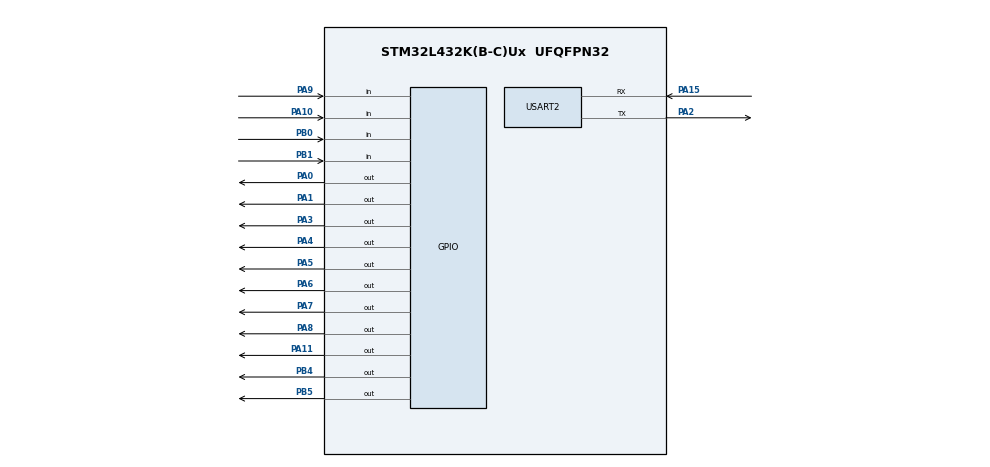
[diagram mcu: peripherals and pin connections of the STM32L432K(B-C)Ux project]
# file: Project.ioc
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Mcu.Family=STM32L4
Mcu.Name=STM32L432K(B-C)Ux
Mcu.Package=UFQFPN32
NVIC.PriorityGroup=NVIC_PRIORITYGROUP_4
PA0.Signal=GPIO_Output
PA1.Signal=GPIO_Output
PA10.Signal=GPIO_Input
PA11.Signal=GPIO_Output
PA13\ (JTMS-SWDIO).Mode=Serial_Wire
PA13\ (JTMS-SWDIO).Signal=SYS_JTMS-SWDIO
PA14\ (JTCK-SWCLK).Mode=Serial_Wire
PA14\ (JTCK-SWCLK).Signal=SYS_JTCK-SWCLK
PA15\ (JTDI).Mode=Asynchronous
PA15\ (JTDI).Signal=USART2_RX
PA2.Mode=Asynchronous
PA2.Signal=USART2_TX
PA3.Signal=GPIO_Output
PA4.Signal=GPIO_Output
PA5.Signal=GPIO_Output
PA6.Signal=GPIO_Output
PA7.Signal=GPIO_Output
PA8.Signal=GPIO_Output
PA9.Signal=GPIO_Input
PB0.Signal=GPIO_Input
PB1.Signal=GPIO_Input
PB4\ (NJTRST).Signal=GPIO_Output
PB5.Signal=GPIO_Output
PC14-OSC32_IN\ (PC14).Mode=LSE-External-Oscillator
PC14-OSC32_IN\ (PC14).Signal=RCC_OSC32_IN
PC15-OSC32_OUT\ (PC15).Mode=LSE-External-Oscillator
PC15-OSC32_OUT\ (PC15).Signal=RCC_OSC32_OUT
ProjectManager.HeapSize=0x200
ProjectManager.StackSize=0x400
ProjectManager.TargetToolchain=MDK-ARM V5.32
RCC.HSE_VALUE=8000000
RCC.HSI48_VALUE=48000000
RCC.HSI_VALUE=16000000
RCC.MSI_VALUE=4000000
RCC.VCOOutputFreq_Value=32000000
TIM1.Period=0xffff-1
TIM1.Prescaler=71
USART2.VirtualMode-Asynchronous=VM_ASYNC
VP_TIM1_VS_ClockSourceINT.Mode=Internal
board=custom

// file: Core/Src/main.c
/* USER CODE BEGIN Header */
/**
  ******************************************************************************
  * @file           : main.c
  * @brief          : Main program body
  ******************************************************************************
  * @attention
  *
  * <h2><center>&copy; Copyright (c) 2022 STMicroelectronics.
  * All rights reserved.</center></h2>
  *
  * This software component is licensed by ST under BSD 3-Clause license,
  * the "License"; You may not use this file except in compliance with the
  * License. You may obtain a copy of the License at:
  *                        opensource.org/licenses/BSD-3-Clause
  *
  ******************************************************************************
  */
/* USER CODE END Header */
#include "main.h"

TIM_HandleTypeDef htim1;

UART_HandleTypeDef huart2;

void SystemClock_Config(void);
static void MX_GPIO_Init(void);
static void MX_TIM1_Init(void);
static void MX_USART2_UART_Init(void);
/* USER CODE BEGIN PFP */
#define RS_Pin GPIO_PIN_1
#define RS_GPIO_Port GPIOA
#define RW_Pin GPIO_PIN_0
#define RW_GPIO_Port GPIOA
#define EN_Pin GPIO_PIN_3
#define EN_GPIO_Port GPIOA
#define D4_Pin GPIO_PIN_4
#define D4_GPIO_Port GPIOA
#define D5_Pin GPIO_PIN_5
#define D5_GPIO_Port GPIOA
#define D6_Pin GPIO_PIN_6
#define D6_GPIO_Port GPIOA
#define D7_Pin GPIO_PIN_7
#define D7_GPIO_Port GPIOA
#define timer htim1
/* USER CODE END PFP */

/* USER CODE BEGIN 0 */

extern TIM_HandleTypeDef timer;
void delay (uint16_t us)
{
	__HAL_TIM_SET_COUNTER(&timer, 0);
	while (__HAL_TIM_GET_COUNTER(&timer) < us);
}

void send_to_lcd (char data, int rs)
{
	HAL_GPIO_WritePin(RS_GPIO_Port, RS_Pin, rs);  // rs = 1 for data, rs=0 for command

	/* write the data to the respective pin */
	HAL_GPIO_WritePin(D7_GPIO_Port, D7_Pin, ((data>>3)&0x01));
	HAL_GPIO_WritePin(D6_GPIO_Port, D6_Pin, ((data>>2)&0x01));
	HAL_GPIO_WritePin(D5_GPIO_Port, D5_Pin, ((data>>1)&0x01));
	HAL_GPIO_WritePin(D4_GPIO_Port, D4_Pin, ((data>>0)&0x01));

	/* Toggle EN PIN to send the data
	 * if the HCLK > 100 MHz, use the  20 us delay
	 * if the LCD still doesn't work, increase the delay to 50, 80 or 100..
	 */
	HAL_GPIO_WritePin(EN_GPIO_Port, EN_Pin, 1);
	delay (20);
	HAL_GPIO_WritePin(EN_GPIO_Port, EN_Pin, 0);
	delay (20);
}

void lcd_send_cmd (char cmd)
{
    char datatosend;

    /* send upper nibble first */
    datatosend = ((cmd>>4)&0x0f);
    send_to_lcd(datatosend,0);  // RS must be 0 while sending command

    /* send Lower Nibble */
    datatosend = ((cmd)&0x0f);
	send_to_lcd(datatosend, 0);
}

void lcd_send_data (char data)
{
	char datatosend;

	/* send higher nibble */
	datatosend = ((data>>4)&0x0f);
	send_to_lcd(datatosend, 1);  // rs =1 for sending data

	/* send Lower nibble */
	datatosend = ((data)&0x0f);
	send_to_lcd(datatosend, 1);
}

void lcd_clear (void)
{
	lcd_send_cmd(0x01);
	HAL_Delay(2);
}

void lcd_put_cur(int row, int col)
{
    switch (row)
    {
        case 0:
            col |= 0x80;
            break;
        case 1:
            col |= 0xC0;
            break;
    }

    lcd_send_cmd (col);
}

void lcd_init (void)
{
	// 4 bit initialisation
	HAL_Delay(50);  // wait for >40ms
	lcd_send_cmd (0x30);
	HAL_Delay(5);  // wait for >4.1ms
	lcd_send_cmd (0x30);
	HAL_Delay(1);  // wait for >100us
	lcd_send_cmd (0x30);
	HAL_Delay(10);
	lcd_send_cmd (0x20);  // 4bit mode
	HAL_Delay(10);

  // dislay initialisation
	lcd_send_cmd (0x28); // Function set --> DL=0 (4 bit mode), N = 1 (2 line display) F = 0 (5x8 characters)
	HAL_Delay(1);
	lcd_send_cmd (0x08); //Display on/off control --> D=0,C=0, B=0  ---> display off
	HAL_Delay(1);
	lcd_send_cmd (0x01);  // clear display
	HAL_Delay(1);
	HAL_Delay(1);
	lcd_send_cmd (0x06); //Entry mode set --> I/D = 1 (increment cursor) & S = 0 (no shift)
	HAL_Delay(1);
	lcd_send_cmd (0x0D); //Display on/off control --> D = 1, C and B = 0. (Cursor and blink, last two bits)
}

void lcd_send_string (char *str)
{
	while (*str) lcd_send_data (*str++);
}

char read_char(){

	 //____________________________Col1________________________________//
	 uint8_t a='_';
HAL_GPIO_WritePin(GPIOB,GPIO_PIN_4,GPIO_PIN_SET); //col4
HAL_GPIO_WritePin(GPIOB,GPIO_PIN_5,GPIO_PIN_SET);
HAL_GPIO_WritePin(GPIOA,GPIO_PIN_11,GPIO_PIN_SET);
HAL_GPIO_WritePin(GPIOA,GPIO_PIN_8,GPIO_PIN_RESET);//col1

	 if (!HAL_GPIO_ReadPin(GPIOA,GPIO_PIN_9)){ //row1
		 a='1';
		 while(!HAL_GPIO_ReadPin(GPIOA,GPIO_PIN_9)){};
			//HAL_UART_Transmit(&huart2,&a,sizeof(a),100);
		 return a;

	 }

	  else if (!HAL_GPIO_ReadPin(GPIOA,GPIO_PIN_10)){
			a='4';
		 while(!HAL_GPIO_ReadPin(GPIOA,GPIO_PIN_10)){};
			//HAL_UART_Transmit(&huart2,&a,sizeof(a),100);
		 return a;
	 }

	  else if (!HAL_GPIO_ReadPin(GPIOB,GPIO_PIN_0)){
			a='7';
		 while(!HAL_GPIO_ReadPin(GPIOB,GPIO_PIN_0)){};
			//	HAL_UART_Transmit(&huart2,&a,sizeof(a),100);
		 return a;
	 }

	  else if (!HAL_GPIO_ReadPin(GPIOB,GPIO_PIN_1)){//row4
			a='0';

		 while(!HAL_GPIO_ReadPin(GPIOB,GPIO_PIN_1)){};
		//	HAL_UART_Transmit(&huart2,&a,sizeof(a),100);
				 return a;
	 }
			 //____________________________Col2________________________________//

	  a='_';
HAL_GPIO_WritePin(GPIOB,GPIO_PIN_4,GPIO_PIN_SET); //col4
HAL_GPIO_WritePin(GPIOB,GPIO_PIN_5,GPIO_PIN_SET);
HAL_GPIO_WritePin(GPIOA,GPIO_PIN_11,GPIO_PIN_RESET);
HAL_GPIO_WritePin(GPIOA,GPIO_PIN_8,GPIO_PIN_SET);//col1

	 if (!HAL_GPIO_ReadPin(GPIOA,GPIO_PIN_9)){ //row1
		 a='2';
		 while(!HAL_GPIO_ReadPin(GPIOA,GPIO_PIN_9)){};
			//HAL_UART_Transmit(&huart2,&a,sizeof(a),100);
		 return a;

	 }

	  else if (!HAL_GPIO_ReadPin(GPIOA,GPIO_PIN_10)){
			a='5';
		 while(!HAL_GPIO_ReadPin(GPIOA,GPIO_PIN_10)){};
			//HAL_UART_Transmit(&huart2,&a,sizeof(a),100);
		 return a;
	 }

	  else if (!HAL_GPIO_ReadPin(GPIOB,GPIO_PIN_0)){
			a='8';
		 while(!HAL_GPIO_ReadPin(GPIOB,GPIO_PIN_0)){};
			//	HAL_UART_Transmit(&huart2,&a,sizeof(a),100);
		 return a;
	 }

	  else if (!HAL_GPIO_ReadPin(GPIOB,GPIO_PIN_1)){//row4
			a='F';

		 while(!HAL_GPIO_ReadPin(GPIOB,GPIO_PIN_1)){};
		//	HAL_UART_Transmit(&huart2,&a,sizeof(a),100);
				 return a;
	 }
					 //____________________________Col3________________________________//

	  a='_';
HAL_GPIO_WritePin(GPIOB,GPIO_PIN_4,GPIO_PIN_SET); //col4
HAL_GPIO_WritePin(GPIOB,GPIO_PIN_5,GPIO_PIN_RESET);
HAL_GPIO_WritePin(GPIOA,GPIO_PIN_11,GPIO_PIN_SET);
HAL_GPIO_WritePin(GPIOA,GPIO_PIN_8,GPIO_PIN_SET);//col1

	 if (!HAL_GPIO_ReadPin(GPIOA,GPIO_PIN_9)){ //row1
		 a='3';
		 while(!HAL_GPIO_ReadPin(GPIOA,GPIO_PIN_9)){};
			//HAL_UART_Transmit(&huart2,&a,sizeof(a),100);
		 return a;

	 }

	  else if (!HAL_GPIO_ReadPin(GPIOA,GPIO_PIN_10)){
			a='6';
		 while(!HAL_GPIO_ReadPin(GPIOA,GPIO_PIN_10)){};
			//HAL_UART_Transmit(&huart2,&a,sizeof(a),100);
		 return a;
	 }

	  else if (!HAL_GPIO_ReadPin(GPIOB,GPIO_PIN_0)){
			a='9';
		 while(!HAL_GPIO_ReadPin(GPIOB,GPIO_PIN_0)){};
			//	HAL_UART_Transmit(&huart2,&a,sizeof(a),100);
		 return a;
	 }

	  else if (!HAL_GPIO_ReadPin(GPIOB,GPIO_PIN_1)){//row4
			a='E';

		 while(!HAL_GPIO_ReadPin(GPIOB,GPIO_PIN_1)){};
		//	HAL_UART_Transmit(&huart2,&a,sizeof(a),100);
				 return a;
	 }
			 //____________________________Col4________________________________//

	  a='_';
HAL_GPIO_WritePin(GPIOB,GPIO_PIN_4,GPIO_PIN_RESET); //col4
HAL_GPIO_WritePin(GPIOB,GPIO_PIN_5,GPIO_PIN_SET);
HAL_GPIO_WritePin(GPIOA,GPIO_PIN_11,GPIO_PIN_SET);
HAL_GPIO_WritePin(GPIOA,GPIO_PIN_8,GPIO_PIN_SET);//col1

	 if (!HAL_GPIO_ReadPin(GPIOA,GPIO_PIN_9)){ //row1
		 a='A';
		 while(!HAL_GPIO_ReadPin(GPIOA,GPIO_PIN_9)){};
			//HAL_UART_Transmit(&huart2,&a,sizeof(a),100);
		 return a;

	 }

	  else if (!HAL_GPIO_ReadPin(GPIOA,GPIO_PIN_10)){
			a='B';
		 while(!HAL_GPIO_ReadPin(GPIOA,GPIO_PIN_10)){};
			//HAL_UART_Transmit(&huart2,&a,sizeof(a),100);
		 return a;
	 }

	  else if (!HAL_GPIO_ReadPin(GPIOB,GPIO_PIN_0)){
			a='C';
		 while(!HAL_GPIO_ReadPin(GPIOB,GPIO_PIN_0)){};
			//	HAL_UART_Transmit(&huart2,&a,sizeof(a),100);
		 return a;
	 }

	  else if (!HAL_GPIO_ReadPin(GPIOB,GPIO_PIN_1)){//row4
			a='D';

		 while(!HAL_GPIO_ReadPin(GPIOB,GPIO_PIN_1)){};
		//	HAL_UART_Transmit(&huart2,&a,sizeof(a),100);
				 return a;
	 }
return a;

 }
 int strcmparr( volatile char arr1[],char arr2[],int size){
	for(int i=0;i<size;i++){
		if (arr1[i]!=arr2[i])
					return 0;
		}
return 1;
}
int search_pass(char arr1[],char*arr2,int size,int user_size ,int index){

			for(int i=0;i<size;i++){
				if (arr1[i]!=arr2[index*size+i])
							return 0;

			}

	return 1;
}
int search(char id[],char*arr2,int size,int user_size ,char pass[],char *passwords){

	for (int user=0;user<user_size;user++){
			for(int i=0;i<size;i++){
				if (id[i]!=arr2[user*size+i])
							break;
			else if(i==size-1 && id[i]==arr2[user*size+i]){
				if (search_pass(pass,passwords,4,4,user)==1)
					return 1;

			}}

	}
	return 0;
}

/* USER CODE END 0 */

int main(void)
{

  /* MCU Configuration--------------------------------------------------------*/

  /* Reset of all peripherals, Initializes the Flash interface and the Systick. */
  HAL_Init();

  /* Configure the system clock */
  SystemClock_Config();

  /* Initialize all configured peripherals */
  MX_GPIO_Init();
  MX_TIM1_Init();
  MX_USART2_UART_Init();
  /* USER CODE BEGIN 2 */
	HAL_TIM_Base_Start(&htim1);
  lcd_init ();
  lcd_put_cur(0, 0);
	  lcd_clear();
	lcd_send_string("Userid");
	lcd_send_string("");
	lcd_put_cur(1, 0);

	char IDs[4][9]={"900184042","900183162","900183874","900180000"};
	char Passwords[4][4]={"1234","2000","3456","0000"};

	char a='_';

	char empty[9]="_________";
	char empty2[4]="____";

	char user_id[9]="_________";
	char user_pass[4]="____";

	char user_pass_appear[9]="____    ";
	char user_appear[9]="_________";

	char Succ[9]="Correct:o";
	char Failed[9]="Wrong!!!!";

	int counter=0,counter2=0;
	int buzzer_counter=0;
	uint8_t str[9];
		uint8_t str2[9];
	uint8_t send=' ';
	int passflag=0;
  /* USER CODE END 2 */

  /* Infinite loop */
  while (1)
  {
		a=read_char();

		if(counter<9 && a!='_'){
			user_id[counter]=a;
			user_appear[counter]=a;
			counter++;
			sprintf((char*)str, "%s", user_appear);

			lcd_put_cur(1, 0);
			lcd_send_string((char*)str);
			lcd_put_cur(1, counter);

		}else if(passflag==0 && counter==9){
		lcd_put_cur(0, 0);
						lcd_clear();
						lcd_send_string("Pass");

						sprintf((char*)str2, "%s", user_pass_appear);	// this should be LCD
						lcd_put_cur(1, 0);
						lcd_send_string((char*)str2);
						lcd_put_cur(1, 0);
						passflag=1;
		}else if(counter==9){

					if(counter2<4)
						{

						if ( a!='_')
							{
									user_pass[counter2]=a;
									user_pass_appear[counter2]='*';
									counter2++;
									sprintf((char*)str2, "%s", user_pass_appear);	// this should be LCD

									lcd_put_cur(1, 0);
									lcd_send_string((char*)str2);
									lcd_put_cur(1, counter2);

							}
						}
					else if(counter2==4  && search(user_id,(char*)IDs,9,4,user_pass,(char*)Passwords)==1){
						sprintf((char*)str, "%s", Succ);
						lcd_put_cur(1, 0);
						lcd_send_string((char*)str);
						//clearing
						memcpy(user_appear, empty, sizeof (empty));
						memcpy(user_pass_appear, empty2, sizeof (empty2));
						HAL_Delay(1000);

						lcd_put_cur(1, 0);
						sprintf((char*)str, "%s", user_appear);
						lcd_send_string((char*)str);

						//relay enable
						send='R';
						HAL_UART_Transmit(&huart2, &send, sizeof(send), 100);// this should be LCD
						send=' ';
						buzzer_counter=0;

						counter=0;
						counter2=0;
						passflag=0;
						lcd_put_cur(0, 0);
						lcd_clear();

					lcd_send_string("Userid");
					lcd_send_string("");
					lcd_put_cur(1, 0);

					}
					else
							{
										buzzer_counter++;

										sprintf((char*)str, "%s", Failed);
										lcd_put_cur(1, 0);
										lcd_send_string((char*)str);
										//clearing
										memcpy(user_appear, empty, sizeof (empty));

										memcpy(user_pass_appear, empty2, sizeof (empty2));
										HAL_Delay(1000);

										lcd_put_cur(1, 0);
										sprintf((char*)str, "%s", user_appear);
										lcd_send_string((char*)str);

										if (buzzer_counter==3){
											//buzzer_enable
											send='B';
											HAL_UART_Transmit(&huart2, &send, sizeof(send), 100);// this should be LCD
											send=' ';
											buzzer_counter=0;

										}
										counter=0;
										counter2=0;
										passflag=0;

									lcd_put_cur(0, 0);
									lcd_clear();

								lcd_send_string("Userid");
								lcd_send_string("");
								lcd_put_cur(1, 0);
									}

			//memcpy(user_pass, empty, sizeof (empty));
		}

  }
}

void SystemClock_Config(void)
{
  RCC_OscInitTypeDef RCC_OscInitStruct = {0};
  RCC_ClkInitTypeDef RCC_ClkInitStruct = {0};

  /** Configure the main internal regulator output voltage
  */
  if (HAL_PWREx_ControlVoltageScaling(PWR_REGULATOR_VOLTAGE_SCALE1) != HAL_OK)
  {
    Error_Handler();
  }
  /** Configure LSE Drive Capability
  */
  HAL_PWR_EnableBkUpAccess();
  __HAL_RCC_LSEDRIVE_CONFIG(RCC_LSEDRIVE_LOW);
  /** Initializes the RCC Oscillators according to the specified parameters
  * in the RCC_OscInitTypeDef structure.
  */
  RCC_OscInitStruct.OscillatorType = RCC_OSCILLATORTYPE_LSE|RCC_OSCILLATORTYPE_MSI;
  RCC_OscInitStruct.LSEState = RCC_LSE_ON;
  RCC_OscInitStruct.MSIState = RCC_MSI_ON;
  RCC_OscInitStruct.MSICalibrationValue = 0;
  RCC_OscInitStruct.MSIClockRange = RCC_MSIRANGE_6;
  RCC_OscInitStruct.PLL.PLLState = RCC_PLL_NONE;
  if (HAL_RCC_OscConfig(&RCC_OscInitStruct) != HAL_OK)
  {
    Error_Handler();
  }
  /** Initializes the CPU, AHB and APB buses clocks
  */
  RCC_ClkInitStruct.ClockType = RCC_CLOCKTYPE_HCLK|RCC_CLOCKTYPE_SYSCLK
                              |RCC_CLOCKTYPE_PCLK1|RCC_CLOCKTYPE_PCLK2;
  RCC_ClkInitStruct.SYSCLKSource = RCC_SYSCLKSOURCE_MSI;
  RCC_ClkInitStruct.AHBCLKDivider = RCC_SYSCLK_DIV1;
  RCC_ClkInitStruct.APB1CLKDivider = RCC_HCLK_DIV1;
  RCC_ClkInitStruct.APB2CLKDivider = RCC_HCLK_DIV1;

  if (HAL_RCC_ClockConfig(&RCC_ClkInitStruct, FLASH_LATENCY_0) != HAL_OK)
  {
    Error_Handler();
  }
  /** Enable MSI Auto calibration
  */
  HAL_RCCEx_EnableMSIPLLMode();
}

static void MX_TIM1_Init(void)
{

  TIM_ClockConfigTypeDef sClockSourceConfig = {0};
  TIM_MasterConfigTypeDef sMasterConfig = {0};

  htim1.Instance = TIM1;
  htim1.Init.Prescaler = 71;
  htim1.Init.CounterMode = TIM_COUNTERMODE_UP;
  htim1.Init.Period = 0xffff-1;
  htim1.Init.ClockDivision = TIM_CLOCKDIVISION_DIV1;
  htim1.Init.RepetitionCounter = 0;
  htim1.Init.AutoReloadPreload = TIM_AUTORELOAD_PRELOAD_DISABLE;
  if (HAL_TIM_Base_Init(&htim1) != HAL_OK)
  {
    Error_Handler();
  }
  sClockSourceConfig.ClockSource = TIM_CLOCKSOURCE_INTERNAL;
  if (HAL_TIM_ConfigClockSource(&htim1, &sClockSourceConfig) != HAL_OK)
  {
    Error_Handler();
  }
  sMasterConfig.MasterOutputTrigger = TIM_TRGO_RESET;
  sMasterConfig.MasterOutputTrigger2 = TIM_TRGO2_RESET;
  sMasterConfig.MasterSlaveMode = TIM_MASTERSLAVEMODE_DISABLE;
  if (HAL_TIMEx_MasterConfigSynchronization(&htim1, &sMasterConfig) != HAL_OK)
  {
    Error_Handler();
  }

}

static void MX_USART2_UART_Init(void)
{

  huart2.Instance = USART2;
  huart2.Init.BaudRate = 115200;
  huart2.Init.WordLength = UART_WORDLENGTH_8B;
  huart2.Init.StopBits = UART_STOPBITS_1;
  huart2.Init.Parity = UART_PARITY_NONE;
  huart2.Init.Mode = UART_MODE_TX_RX;
  huart2.Init.HwFlowCtl = UART_HWCONTROL_NONE;
  huart2.Init.OverSampling = UART_OVERSAMPLING_16;
  huart2.Init.OneBitSampling = UART_ONE_BIT_SAMPLE_DISABLE;
  huart2.AdvancedInit.AdvFeatureInit = UART_ADVFEATURE_NO_INIT;
  if (HAL_UART_Init(&huart2) != HAL_OK)
  {
    Error_Handler();
  }

}

static void MX_GPIO_Init(void)
{
  GPIO_InitTypeDef GPIO_InitStruct = {0};

  /* GPIO Ports Clock Enable */
  __HAL_RCC_GPIOC_CLK_ENABLE();
  __HAL_RCC_GPIOA_CLK_ENABLE();
  __HAL_RCC_GPIOB_CLK_ENABLE();

  /*Configure GPIO pin Output Level */
  HAL_GPIO_WritePin(GPIOA, GPIO_PIN_0|GPIO_PIN_1|GPIO_PIN_3|GPIO_PIN_4
                          |GPIO_PIN_5|GPIO_PIN_6|GPIO_PIN_7|GPIO_PIN_8
                          |GPIO_PIN_11, GPIO_PIN_RESET);

  /*Configure GPIO pin Output Level */
  HAL_GPIO_WritePin(GPIOB, GPIO_PIN_4|GPIO_PIN_5, GPIO_PIN_RESET);

  /*Configure GPIO pins : PA0 PA1 PA3 PA4
                           PA5 PA6 PA7 PA8
                           PA11 */
  GPIO_InitStruct.Pin = GPIO_PIN_0|GPIO_PIN_1|GPIO_PIN_3|GPIO_PIN_4
                          |GPIO_PIN_5|GPIO_PIN_6|GPIO_PIN_7|GPIO_PIN_8
                          |GPIO_PIN_11;
  GPIO_InitStruct.Mode = GPIO_MODE_OUTPUT_PP;
  GPIO_InitStruct.Pull = GPIO_NOPULL;
  GPIO_InitStruct.Speed = GPIO_SPEED_FREQ_LOW;
  HAL_GPIO_Init(GPIOA, &GPIO_InitStruct);

  /*Configure GPIO pins : PB0 PB1 */
  GPIO_InitStruct.Pin = GPIO_PIN_0|GPIO_PIN_1;
  GPIO_InitStruct.Mode = GPIO_MODE_INPUT;
  GPIO_InitStruct.Pull = GPIO_NOPULL;
  HAL_GPIO_Init(GPIOB, &GPIO_InitStruct);

  /*Configure GPIO pins : PA9 PA10 */
  GPIO_InitStruct.Pin = GPIO_PIN_9|GPIO_PIN_10;
  GPIO_InitStruct.Mode = GPIO_MODE_INPUT;
  GPIO_InitStruct.Pull = GPIO_NOPULL;
  HAL_GPIO_Init(GPIOA, &GPIO_InitStruct);

  /*Configure GPIO pins : PB4 PB5 */
  GPIO_InitStruct.Pin = GPIO_PIN_4|GPIO_PIN_5;
  GPIO_InitStruct.Mode = GPIO_MODE_OUTPUT_PP;
  GPIO_InitStruct.Pull = GPIO_NOPULL;
  GPIO_InitStruct.Speed = GPIO_SPEED_FREQ_LOW;
  HAL_GPIO_Init(GPIOB, &GPIO_InitStruct);

}

void Error_Handler(void)
{
  __disable_irq();
  while (1)
  {
  }
}

/************************ (C) COPYRIGHT STMicroelectronics *****END OF FILE****/
